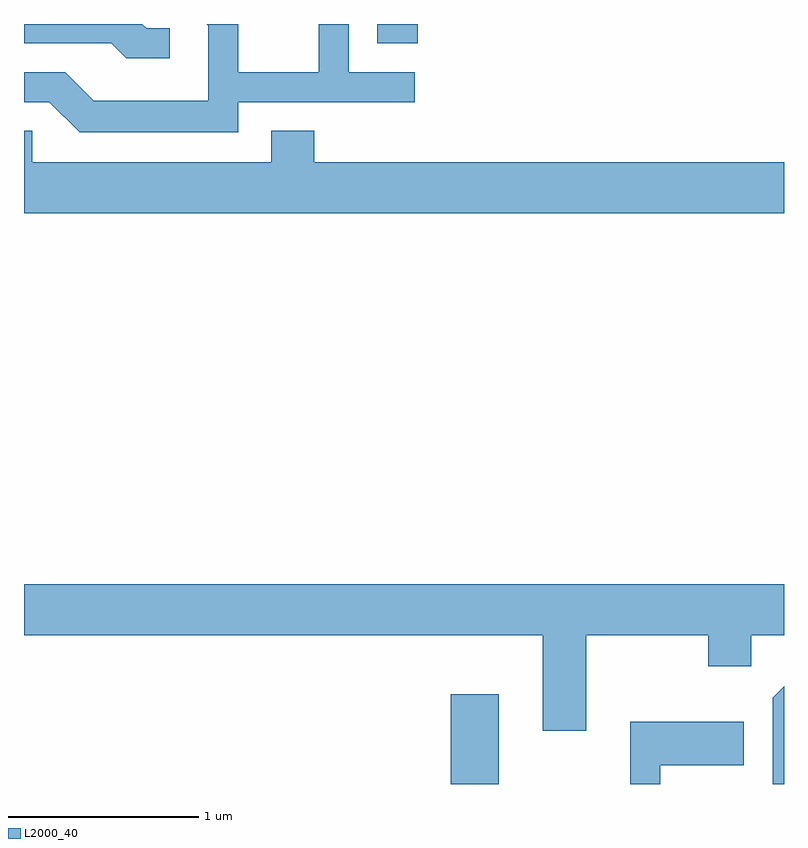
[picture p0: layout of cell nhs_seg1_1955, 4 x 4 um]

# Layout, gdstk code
import gdstk
lib = gdstk.Library(unit=1e-6, precision=1e-09)
def R(c, l, rs):  # rectangles x0, y0, x1, y1
    for r in rs: c.add(gdstk.rectangle(r[:2], r[2:], *l))
def P(c, l, *ps):  # polygons
    for p in ps: c.add(gdstk.Polygon(p, *l))
L2000_40 = (2000, 40)

nhs_seg1_1955 = lib.new_cell('nhs_seg1_1955')
R(nhs_seg1_1955, L2000_40, [(247.856,867.712,248.109,868.184), (247.471,871.611,247.684,871.712)])
P(nhs_seg1_1955, L2000_40, [(246.739,871.301),(247.668,871.301),(247.668,871.459),(247.319,871.459),(247.319,871.712),(247.161,871.712),(247.161,871.459),(246.739,871.459),(246.739,871.712),(246.573,871.712),(246.581,871.704),(246.581,871.309),(245.977,871.309),(245.827,871.459),(245.611,871.459),(245.611,871.301),(245.744,871.301),(245.904,871.141),(246.739,871.141)],
  [(246.378,871.689),(246.257,871.689),(246.234,871.712),(245.611,871.712),(245.611,871.611),(246.069,871.611),(246.149,871.531),(246.378,871.531)],
  [(249.611,870.984),(247.139,870.984),(247.139,871.149),(246.911,871.149),(246.911,870.984),(245.654,870.984),(245.654,871.149),(245.611,871.149),(245.611,870.716),(249.611,870.716)],
  [(248.569,868.496),(249.211,868.496),(249.211,868.331),(249.439,868.331),(249.439,868.496),(249.611,868.496),(249.611,868.764),(245.611,868.764),(245.611,868.496),(248.341,868.496),(248.341,867.991),(248.569,867.991)],
  [(249.611,868.227),(249.551,868.167),(249.551,867.712),(249.611,867.712)],
  [(248.959,867.811),(249.399,867.811),(249.399,868.039),(248.801,868.039),(248.801,867.712),(248.959,867.712)])

lib.write_gds('nhs_seg1_1955.gds')
